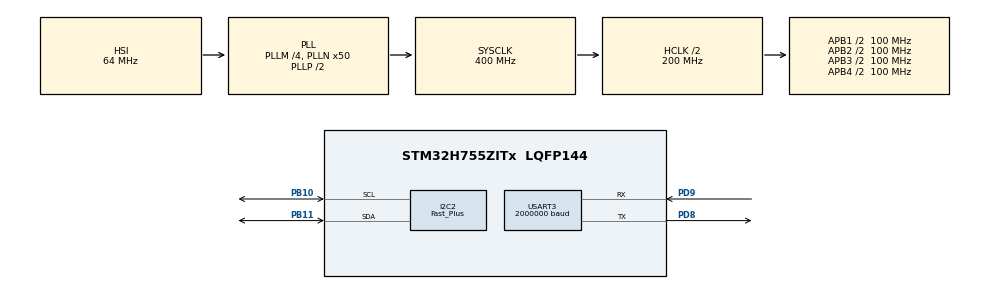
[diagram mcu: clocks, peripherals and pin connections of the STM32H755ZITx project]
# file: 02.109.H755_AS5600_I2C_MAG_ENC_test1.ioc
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CortexM4.IPs=FATFS_M4\:I,FREERTOS_M4\:I,IWDG2\:I,RCC,WWDG2\:I,DMA,BDMA,MDMA,NVIC2\:I,ETH,DEBUG,PDM2PCM_M4\:I,PWR,RESMGR_UTILITY,SYS_M4\:I,USB_DEVICE_M4\:I,USB_HOST_M4\:I,CORTEX_M4\:I,GPIO,OPENAMP_M4\:I,VREFBUF,NUCLEO-H755ZI-Q
CortexM7.IPs=FATFS_M7\:I,FREERTOS_M7\:I,IWDG1\:I,RCC\:I,WWDG1\:I,DMA\:I,BDMA\:I,MDMA\:I,NVIC1\:I,ETH\:I,USART3\:I,USB_OTG_FS\:I,SYS\:I,CORTEX_M7\:I,DEBUG\:I,PDM2PCM_M7\:I,PWR\:I,RESMGR_UTILITY\:I,USB_DEVICE_M7\:I,USB_HOST_M7\:I,GPIO\:I,OPENAMP_M7\:I,VREFBUF\:I,NUCLEO-H755ZI-Q\:I,I2C2\:I
Dma.Request0=USART3_TX
Dma.Request1=USART3_RX
Dma.USART3_RX.1.Direction=DMA_PERIPH_TO_MEMORY
Dma.USART3_RX.1.EventEnable=DISABLE
Dma.USART3_RX.1.FIFOMode=DMA_FIFOMODE_DISABLE
Dma.USART3_RX.1.Instance=DMA1_Stream1
Dma.USART3_RX.1.MemDataAlignment=DMA_MDATAALIGN_BYTE
Dma.USART3_RX.1.MemInc=DMA_MINC_ENABLE
Dma.USART3_RX.1.Mode=DMA_CIRCULAR
Dma.USART3_RX.1.PeriphDataAlignment=DMA_PDATAALIGN_BYTE
Dma.USART3_RX.1.PeriphInc=DMA_PINC_DISABLE
Dma.USART3_RX.1.Polarity=HAL_DMAMUX_REQ_GEN_RISING
Dma.USART3_RX.1.Priority=DMA_PRIORITY_LOW
Dma.USART3_RX.1.RequestNumber=1
Dma.USART3_RX.1.SignalID=NONE
Dma.USART3_RX.1.SyncEnable=DISABLE
Dma.USART3_RX.1.SyncPolarity=HAL_DMAMUX_SYNC_NO_EVENT
Dma.USART3_RX.1.SyncRequestNumber=1
Dma.USART3_RX.1.SyncSignalID=NONE
Dma.USART3_TX.0.Direction=DMA_MEMORY_TO_PERIPH
Dma.USART3_TX.0.EventEnable=DISABLE
Dma.USART3_TX.0.FIFOMode=DMA_FIFOMODE_DISABLE
Dma.USART3_TX.0.Instance=DMA1_Stream0
Dma.USART3_TX.0.MemDataAlignment=DMA_MDATAALIGN_BYTE
Dma.USART3_TX.0.MemInc=DMA_MINC_ENABLE
Dma.USART3_TX.0.Mode=DMA_NORMAL
Dma.USART3_TX.0.PeriphDataAlignment=DMA_PDATAALIGN_BYTE
Dma.USART3_TX.0.PeriphInc=DMA_PINC_DISABLE
Dma.USART3_TX.0.Polarity=HAL_DMAMUX_REQ_GEN_RISING
Dma.USART3_TX.0.Priority=DMA_PRIORITY_LOW
Dma.USART3_TX.0.RequestNumber=1
Dma.USART3_TX.0.SignalID=NONE
Dma.USART3_TX.0.SyncEnable=DISABLE
Dma.USART3_TX.0.SyncPolarity=HAL_DMAMUX_SYNC_NO_EVENT
Dma.USART3_TX.0.SyncRequestNumber=1
Dma.USART3_TX.0.SyncSignalID=NONE
I2C2.I2C_Speed_Mode=I2C_Fast_Plus
I2C2.Timing=0x00401242
Mcu.Family=STM32H7
Mcu.Name=STM32H755ZITx
Mcu.Package=LQFP144
NVIC1.DMA1_Stream0_IRQn=true\:0\:0\:false\:false\:true\:false\:true\:true
NVIC1.DMA1_Stream1_IRQn=true\:0\:0\:false\:false\:true\:false\:true\:true
NVIC1.PriorityGroup=NVIC_PRIORITYGROUP_4
NVIC1.USART3_IRQn=true\:0\:0\:false\:false\:true\:true\:true\:true
NVIC2.PriorityGroup=NVIC_PRIORITYGROUP_4
PB10.Mode=I2C
PB10.PinAttribute=CortexM7
PB10.Signal=I2C2_SCL
PB11.Mode=I2C
PB11.PinAttribute=CortexM7
PB11.Signal=I2C2_SDA
PD8.Mode=Asynchronous
PD8.PinAttribute=CortexM7
PD8.Signal=USART3_TX
PD8.TagName=VCP_RX
PD9.Mode=Asynchronous
PD9.PinAttribute=CortexM7
PD9.Signal=USART3_RX
PD9.TagName=VCP_TX
ProjectManager.HeapSize=M4-0x200,M7-0x200
ProjectManager.StackSize=M4-0x400,M7-0x400
ProjectManager.TargetToolchain=STM32CubeIDE
RCC.ADCFreq_Value=129000000
RCC.APB1Freq_Value=100000000
RCC.APB2Freq_Value=100000000
RCC.APB3Freq_Value=100000000
RCC.APB4Freq_Value=100000000
RCC.CortexFreq_Value=400000000
RCC.D1PPRE=RCC_APB3_DIV2
RCC.D2PPRE1=RCC_APB1_DIV2
RCC.D2PPRE2=RCC_APB2_DIV2
RCC.D3PPRE=RCC_APB4_DIV2
RCC.DIVM1=4
RCC.DIVN1=50
RCC.DIVQ1=5
RCC.HCLKFreq_Value=200000000
RCC.HPRE=RCC_HCLK_DIV2
RCC.PLL2FRACN=0
RCC.PLL3FRACN=0
RCC.PLLFRACN=0
RCC.SYSCLKFreq_VALUE=400000000
RCC.SYSCLKSource=RCC_SYSCLKSOURCE_PLLCLK
RCC.SupplySource=PWR_DIRECT_SMPS_SUPPLY
RCC.USBFreq_Value=160000000
USART3.BaudRate=2000000
USART3.VirtualMode-Asynchronous=VM_ASYNC
VP_SYS_M4_VS_Systick.Mode=SysTick
board=NUCLEO-H755ZI-Q

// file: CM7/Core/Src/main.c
/* USER CODE BEGIN Header */
/**
  ******************************************************************************
  * @file           : main.c
  * @brief          : Main program body
  ******************************************************************************
  * @attention
  *
  * Copyright (c) 2026 STMicroelectronics.
  * All rights reserved.
  *
  * This software is licensed under terms that can be found in the LICENSE file
  * in the root directory of this software component.
  * If no LICENSE file comes with this software, it is provided AS-IS.
  *
  ******************************************************************************
  */
/* USER CODE END Header */
#include "main.h"

/* USER CODE BEGIN Includes */
#include <stdio.h>
#include <string.h>
#include <stddef.h>
#include <stdarg.h>
#include <stdbool.h>
#include <stdlib.h>
#include "AS5600.h"
/* USER CODE END Includes */

/* USER CODE BEGIN PD */

/* DUAL_CORE_BOOT_SYNC_SEQUENCE: Define for dual core boot synchronization    */
/*                             demonstration code based on hardware semaphore */
/* This define is present in both CM7/CM4 projects                            */
/* To comment when developping/debugging on a single core                     */
#define DUAL_CORE_BOOT_SYNC_SEQUENCE

#if defined(DUAL_CORE_BOOT_SYNC_SEQUENCE)
#ifndef HSEM_ID_0
#define HSEM_ID_0 (0U) /* HW semaphore 0*/
#endif
#endif /* DUAL_CORE_BOOT_SYNC_SEQUENCE */

/* USER CODE END PD */

I2C_HandleTypeDef hi2c2;

UART_HandleTypeDef huart3;
DMA_HandleTypeDef hdma_usart3_tx;
DMA_HandleTypeDef hdma_usart3_rx;

/* USER CODE BEGIN PV */
#define DEBUG_QUEUE_SIZE 8
#define DEBUG_MSG_LEN    128

static char debug_queue[DEBUG_QUEUE_SIZE][DEBUG_MSG_LEN];
static volatile uint8_t dbg_head = 0;
static volatile uint8_t dbg_tail = 0;
static volatile uint8_t dbg_busy = 0;

uint8_t dma_rx_buffer[64];

as5600_t encoder;

void AS5600_Init(as5600_t *enc);
void AS5600_Update(as5600_t *enc, I2C_HandleTypeDef *hi2c);

/* USER CODE END PV */

void SystemClock_Config(void);
static void MX_GPIO_Init(void);
static void MX_DMA_Init(void);
static void MX_USART3_UART_Init(void);
static void MX_I2C2_Init(void);

/* USER CODE BEGIN 0 */
static uint8_t queue_next(uint8_t idx)
{
    return (idx + 1) % DEBUG_QUEUE_SIZE;
}

void DebugPrint(const char *format, ...)
{
    uint8_t next = queue_next(dbg_head);

    // Queue full → drop message (safe behavior)
    if (next == dbg_tail)
        return;

    va_list args;
    va_start(args, format);
    vsnprintf(debug_queue[dbg_head], DEBUG_MSG_LEN, format, args);
    va_end(args);

    dbg_head = next;

    // Start TX if idle
    if (!dbg_busy)
    {
        dbg_busy = 1;
        HAL_UART_Transmit_DMA(
            &huart3,
            (uint8_t *)debug_queue[dbg_tail],
            strlen(debug_queue[dbg_tail])
        );
    }
}

void AS5600_Init(as5600_t *enc)
{
    enc->raw_angle = 0;
    enc->angle_deg = 0.0f;
    enc->comm_ok = 0;
    enc->magnet_detected  = 0;
    enc->magnet_too_weak  = 0;
    enc->magnet_too_strong= 0;

//    AS5600_SetZeroPosition(&hi2c2, 0x000);  // 0 deg
//    AS5600_SetMaxPosition (&hi2c2, 0xFFF);  // full range
//    AS5600_SetMaxAngle    (&hi2c2, 0xFFF);  // 360 deg range
}

void AS5600_Update(as5600_t *enc, I2C_HandleTypeDef *hi2c)
{
    uint8_t buf[2];
    uint8_t val;
    uint16_t val_mag;

    if (HAL_I2C_Mem_Read(hi2c,
                         AS5600_I2C_ADDR,
						 AS5600_REG_RAW_ANGLE_H,
                         I2C_MEMADD_SIZE_8BIT,
                         buf,
                         2,
                         10) == HAL_OK)
    {
        uint16_t raw = ((uint16_t)buf[0] << 8) | buf[1];
        raw &= 0x0FFF;  // 12-bit mask

        enc->raw_angle = raw;
        enc->angle_deg = (raw * 360.0f) / 4096.0f;

//        if (AS5600_GetStatus(hi2c, &val) == HAL_OK)
//        {
//            enc->magnet_detected  = (val >> 5) & 0x01;
//            enc->magnet_too_weak  = (val >> 4) & 0x01;
//            enc->magnet_too_strong= (val >> 3) & 0x01;
//
//            DebugPrint("MD:%d ML:%d MH:%d\r\n",
//                       enc->magnet_detected,
//                       enc->magnet_too_weak,
//                       enc->magnet_too_strong);
//        }
//
        if (AS5600_GetAGC(hi2c, &val) == HAL_OK)
        {
            enc->agc_value_read  = val;
        }

        if (AS5600_GetMagnitude12(hi2c, &val_mag) == HAL_OK)
        {
        	enc->mag_value_read = val_mag;
            DebugPrint("AGC:%d MAG:%d \r\n",
            			enc->agc_value_read,
						enc->mag_value_read);
        }
//
//        if (AS5600_GetCONF16(hi2c, &val_mag) == HAL_OK)
//        {
//
//            enc->conf_PM  	= (val 		) & 0x03;
//            enc->conf_HYST 	= (val >> 2	) & 0x03;
//            enc->conf_OUTS 	= (val >> 4	) & 0x03;
//            enc->conf_PWMF 	= (val >> 6	) & 0x03;
//            enc->conf_SF 	= (val >> 8	) & 0x03;
//            enc->conf_FTH 	= (val >> 10) & 0x07;
//            enc->conf_WD 	= (val >> 13) & 0x01;
//
//            DebugPrint("PM:%d HYST:%d OUTS:%d PWMF:%d SF:%d FTH:%d WD:%d \r\n",
//            			enc->conf_PM,
//						enc->conf_HYST,
//						enc->conf_OUTS,
//						enc->conf_PWMF,
//						enc->conf_SF,
//						enc->conf_FTH,
//						enc->conf_WD);
//        }
        DebugPrint("\r\n");

        enc->comm_ok = 1;
    }
    else
    {
        enc->comm_ok = 0;
    }
}

//void AS5600_ConfigExample(void)
//{
//    uint16_t conf = 0;
//
//    // 1) Set a software-defined zero window (example values)
//    AS5600_SetZeroPosition(&hi2c4, 0x000);  // 0 deg
//    AS5600_SetMaxPosition (&hi2c4, 0xFFF);  // full range
//    AS5600_SetMaxAngle    (&hi2c4, 0xFFF);  // 360 deg range
//
//    // 2) Read current CONF
//    if (AS5600_ReadCONF(&hi2c4, &conf) == HAL_OK)
//    {
//        DebugPrint("AS5600 CONF = 0x%04X\r\n", conf);
//    }
//    else
//    {
//        DebugPrint("AS5600 CONF read error\r\n");
//    }
//
//    // 3) Optionally modify CONF bits (example: leave unchanged)
//    // conf = conf | SOME_BITS;
//    // AS5600_WriteCONF(&hi2c4, conf);
//}

void check_dma_data(void)
{
    static uint16_t old_pos = 0;
    static uint32_t total_pos = 0;

    uint16_t pos =
        sizeof(dma_rx_buffer) - __HAL_DMA_GET_COUNTER(&hdma_usart3_rx);

    if (pos == old_pos)
        return;

    char msg[128];
    int len = 0;

    if (pos > old_pos)
    {
        for (uint16_t i = old_pos; i < pos; i++)
        {
            len += snprintf(&msg[len], sizeof(msg) - len,
                            "[%lu] %02X '%c'\r\n",
                            total_pos++, dma_rx_buffer[i],
                            dma_rx_buffer[i]);
        }
    }
    else
    {
        for (uint16_t i = old_pos; i < sizeof(dma_rx_buffer); i++)
        {
            len += snprintf(&msg[len], sizeof(msg) - len,
                            "[%lu] %02X '%c'\r\n",
                            total_pos++, dma_rx_buffer[i],
                            dma_rx_buffer[i]);
        }

        for (uint16_t i = 0; i < pos; i++)
        {
            len += snprintf(&msg[len], sizeof(msg) - len,
                            "[%lu] %02X '%c'\r\n",
                            total_pos++, dma_rx_buffer[i],
                            dma_rx_buffer[i]);
        }
    }

    DebugPrint("%s", msg);
    old_pos = pos;
}
/* USER CODE END 0 */

int main(void)
{

/* USER CODE BEGIN Boot_Mode_Sequence_0 */
#if defined(DUAL_CORE_BOOT_SYNC_SEQUENCE)
  int32_t timeout;
#endif /* DUAL_CORE_BOOT_SYNC_SEQUENCE */
/* USER CODE END Boot_Mode_Sequence_0 */

/* USER CODE BEGIN Boot_Mode_Sequence_1 */
#if defined(DUAL_CORE_BOOT_SYNC_SEQUENCE)
  /* Wait until CPU2 boots and enters in stop mode or timeout*/
  timeout = 0xFFFF;
  while((__HAL_RCC_GET_FLAG(RCC_FLAG_D2CKRDY) != RESET) && (timeout-- > 0));
  if ( timeout < 0 )
  {
  Error_Handler();
  }
#endif /* DUAL_CORE_BOOT_SYNC_SEQUENCE */
/* USER CODE END Boot_Mode_Sequence_1 */
  /* MCU Configuration--------------------------------------------------------*/

  /* Reset of all peripherals, Initializes the Flash interface and the Systick. */
  HAL_Init();

  /* Configure the system clock */
  SystemClock_Config();
/* USER CODE BEGIN Boot_Mode_Sequence_2 */
#if defined(DUAL_CORE_BOOT_SYNC_SEQUENCE)
/* When system initialization is finished, Cortex-M7 will release Cortex-M4 by means of
HSEM notification */
/*HW semaphore Clock enable*/
__HAL_RCC_HSEM_CLK_ENABLE();
/*Take HSEM */
HAL_HSEM_FastTake(HSEM_ID_0);
/*Release HSEM in order to notify the CPU2(CM4)*/
HAL_HSEM_Release(HSEM_ID_0,0);
/* wait until CPU2 wakes up from stop mode */
timeout = 0xFFFF;
while((__HAL_RCC_GET_FLAG(RCC_FLAG_D2CKRDY) == RESET) && (timeout-- > 0));
if ( timeout < 0 )
{
Error_Handler();
}
#endif /* DUAL_CORE_BOOT_SYNC_SEQUENCE */
/* USER CODE END Boot_Mode_Sequence_2 */

  /* Initialize all configured peripherals */
  MX_GPIO_Init();
  MX_DMA_Init();
  MX_USART3_UART_Init();
  MX_I2C2_Init();
  /* USER CODE BEGIN 2 */
  HAL_UART_Receive_DMA(&huart3, dma_rx_buffer, sizeof(dma_rx_buffer));

  DebugPrint("-----------AS5600 Magnetic Encoder I2C Test-----------\n\r");

  AS5600_Init(&encoder);

  static uint32_t last = 0;

  /* USER CODE END 2 */

  /* Infinite loop */
  while (1)
  {

    /* USER CODE BEGIN 3 */

	  if (HAL_GetTick() - last >= 100)   // 100 ms period
	  {
		  last = HAL_GetTick();

		  AS5600_Update(&encoder, &hi2c2);

		  if (encoder.comm_ok)
		  {
			  DebugPrint("Angle: %4u  deg: %6.3f \r\n",encoder.raw_angle,encoder.angle_deg);
		  }
		  else
		  {
			  DebugPrint("AS5600 I2C error\r\n");
		  }

	  }

	  check_dma_data();
  }
  /* USER CODE END 3 */
}

void SystemClock_Config(void)
{
  RCC_OscInitTypeDef RCC_OscInitStruct = {0};
  RCC_ClkInitTypeDef RCC_ClkInitStruct = {0};

  /** Supply configuration update enable
  */
  HAL_PWREx_ConfigSupply(PWR_DIRECT_SMPS_SUPPLY);

  /** Configure the main internal regulator output voltage
  */
  __HAL_PWR_VOLTAGESCALING_CONFIG(PWR_REGULATOR_VOLTAGE_SCALE1);

  while(!__HAL_PWR_GET_FLAG(PWR_FLAG_VOSRDY)) {}

  /** Initializes the RCC Oscillators according to the specified parameters
  * in the RCC_OscInitTypeDef structure.
  */
  RCC_OscInitStruct.OscillatorType = RCC_OSCILLATORTYPE_HSI;
  RCC_OscInitStruct.HSIState = RCC_HSI_DIV1;
  RCC_OscInitStruct.HSICalibrationValue = RCC_HSICALIBRATION_DEFAULT;
  RCC_OscInitStruct.PLL.PLLState = RCC_PLL_ON;
  RCC_OscInitStruct.PLL.PLLSource = RCC_PLLSOURCE_HSI;
  RCC_OscInitStruct.PLL.PLLM = 4;
  RCC_OscInitStruct.PLL.PLLN = 50;
  RCC_OscInitStruct.PLL.PLLP = 2;
  RCC_OscInitStruct.PLL.PLLQ = 5;
  RCC_OscInitStruct.PLL.PLLR = 2;
  RCC_OscInitStruct.PLL.PLLRGE = RCC_PLL1VCIRANGE_3;
  RCC_OscInitStruct.PLL.PLLVCOSEL = RCC_PLL1VCOWIDE;
  RCC_OscInitStruct.PLL.PLLFRACN = 0;
  if (HAL_RCC_OscConfig(&RCC_OscInitStruct) != HAL_OK)
  {
    Error_Handler();
  }

  /** Initializes the CPU, AHB and APB buses clocks
  */
  RCC_ClkInitStruct.ClockType = RCC_CLOCKTYPE_HCLK|RCC_CLOCKTYPE_SYSCLK
                              |RCC_CLOCKTYPE_PCLK1|RCC_CLOCKTYPE_PCLK2
                              |RCC_CLOCKTYPE_D3PCLK1|RCC_CLOCKTYPE_D1PCLK1;
  RCC_ClkInitStruct.SYSCLKSource = RCC_SYSCLKSOURCE_PLLCLK;
  RCC_ClkInitStruct.SYSCLKDivider = RCC_SYSCLK_DIV1;
  RCC_ClkInitStruct.AHBCLKDivider = RCC_HCLK_DIV2;
  RCC_ClkInitStruct.APB3CLKDivider = RCC_APB3_DIV2;
  RCC_ClkInitStruct.APB1CLKDivider = RCC_APB1_DIV2;
  RCC_ClkInitStruct.APB2CLKDivider = RCC_APB2_DIV2;
  RCC_ClkInitStruct.APB4CLKDivider = RCC_APB4_DIV2;

  if (HAL_RCC_ClockConfig(&RCC_ClkInitStruct, FLASH_LATENCY_2) != HAL_OK)
  {
    Error_Handler();
  }
}

static void MX_I2C2_Init(void)
{

  hi2c2.Instance = I2C2;
  hi2c2.Init.Timing = 0x00401242;
  hi2c2.Init.OwnAddress1 = 0;
  hi2c2.Init.AddressingMode = I2C_ADDRESSINGMODE_7BIT;
  hi2c2.Init.DualAddressMode = I2C_DUALADDRESS_DISABLE;
  hi2c2.Init.OwnAddress2 = 0;
  hi2c2.Init.OwnAddress2Masks = I2C_OA2_NOMASK;
  hi2c2.Init.GeneralCallMode = I2C_GENERALCALL_DISABLE;
  hi2c2.Init.NoStretchMode = I2C_NOSTRETCH_DISABLE;
  if (HAL_I2C_Init(&hi2c2) != HAL_OK)
  {
    Error_Handler();
  }

  /** Configure Analogue filter
  */
  if (HAL_I2CEx_ConfigAnalogFilter(&hi2c2, I2C_ANALOGFILTER_ENABLE) != HAL_OK)
  {
    Error_Handler();
  }

  /** Configure Digital filter
  */
  if (HAL_I2CEx_ConfigDigitalFilter(&hi2c2, 0) != HAL_OK)
  {
    Error_Handler();
  }

  /** I2C Enable Fast Mode Plus
  */
  HAL_I2CEx_EnableFastModePlus(I2C_FASTMODEPLUS_I2C2);

}

static void MX_USART3_UART_Init(void)
{

  huart3.Instance = USART3;
  huart3.Init.BaudRate = 2000000;
  huart3.Init.WordLength = UART_WORDLENGTH_8B;
  huart3.Init.StopBits = UART_STOPBITS_1;
  huart3.Init.Parity = UART_PARITY_NONE;
  huart3.Init.Mode = UART_MODE_TX_RX;
  huart3.Init.HwFlowCtl = UART_HWCONTROL_NONE;
  huart3.Init.OverSampling = UART_OVERSAMPLING_16;
  huart3.Init.OneBitSampling = UART_ONE_BIT_SAMPLE_DISABLE;
  huart3.Init.ClockPrescaler = UART_PRESCALER_DIV1;
  huart3.AdvancedInit.AdvFeatureInit = UART_ADVFEATURE_NO_INIT;
  if (HAL_UART_Init(&huart3) != HAL_OK)
  {
    Error_Handler();
  }
  if (HAL_UARTEx_SetTxFifoThreshold(&huart3, UART_TXFIFO_THRESHOLD_1_8) != HAL_OK)
  {
    Error_Handler();
  }
  if (HAL_UARTEx_SetRxFifoThreshold(&huart3, UART_RXFIFO_THRESHOLD_1_8) != HAL_OK)
  {
    Error_Handler();
  }
  if (HAL_UARTEx_DisableFifoMode(&huart3) != HAL_OK)
  {
    Error_Handler();
  }

}

static void MX_DMA_Init(void)
{

  /* DMA controller clock enable */
  __HAL_RCC_DMA1_CLK_ENABLE();

  /* DMA interrupt init */
  /* DMA1_Stream0_IRQn interrupt configuration */
  HAL_NVIC_SetPriority(DMA1_Stream0_IRQn, 0, 0);
  HAL_NVIC_EnableIRQ(DMA1_Stream0_IRQn);
  /* DMA1_Stream1_IRQn interrupt configuration */
  HAL_NVIC_SetPriority(DMA1_Stream1_IRQn, 0, 0);
  HAL_NVIC_EnableIRQ(DMA1_Stream1_IRQn);

}

static void MX_GPIO_Init(void)
{

  /* GPIO Ports Clock Enable */
  __HAL_RCC_GPIOB_CLK_ENABLE();
  __HAL_RCC_GPIOD_CLK_ENABLE();

}

/* USER CODE BEGIN 4 */
void HAL_UART_TxCpltCallback(UART_HandleTypeDef *huart)
{
    if (huart == &huart3)
    {
        dbg_tail = queue_next(dbg_tail);

        if (dbg_tail != dbg_head)
        {
            // More messages pending
            HAL_UART_Transmit_DMA(
                &huart3,
                (uint8_t *)debug_queue[dbg_tail],
                strlen(debug_queue[dbg_tail])
            );
        }
        else
        {
            dbg_busy = 0;
        }
    }
}
/* USER CODE END 4 */

void Error_Handler(void)
{
  __disable_irq();
  while (1)
  {
  }
}
